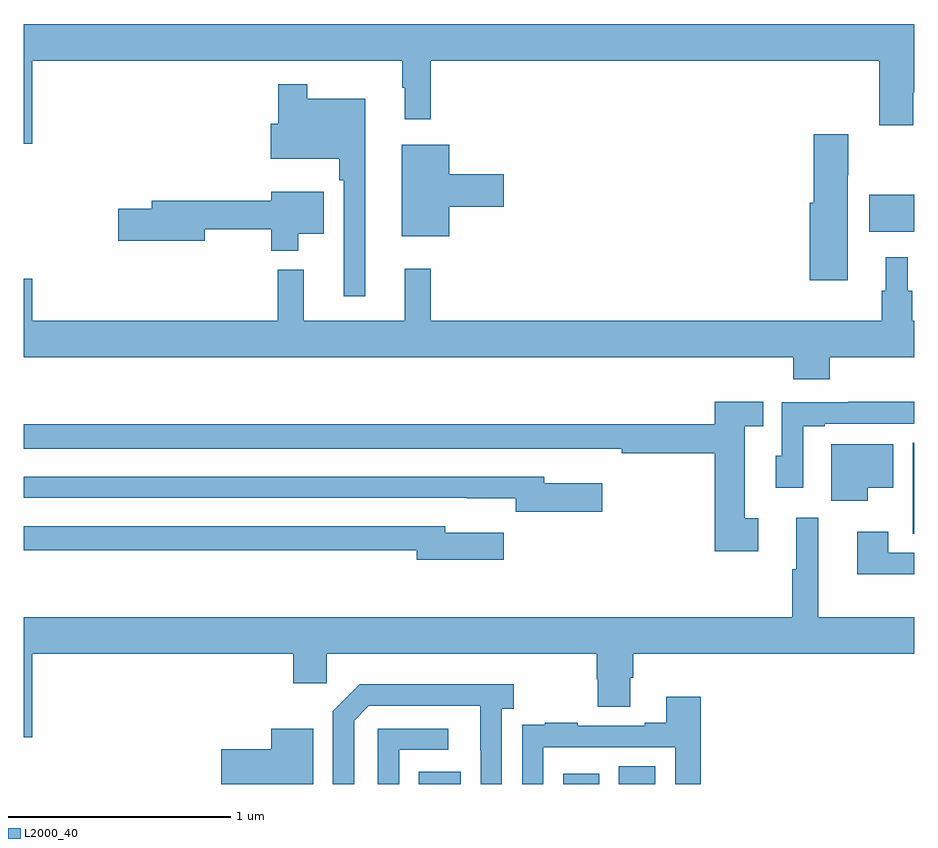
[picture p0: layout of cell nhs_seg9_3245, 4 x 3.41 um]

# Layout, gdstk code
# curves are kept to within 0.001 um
import gdstk
lib = gdstk.Library(unit=1e-6, precision=1e-09)
def R(c, l, rs):  # rectangles x0, y0, x1, y1
    for r in rs: c.add(gdstk.rectangle(r[:2], r[2:], *l))
def P(c, l, *ps):  # polygons
    for p in ps: c.add(gdstk.Polygon(p, *l))
L2000_40 = (2000, 40)

nhs_seg9_3245 = lib.new_cell('nhs_seg9_3245')
R(nhs_seg9_3245, L2000_40, [(298.775,1198.5,298.963,1198.555), (299.423,1198.5,299.584,1198.546), (299.672,1198.5,299.836,1198.58), (300.992,1199.623,301,1200.032), (300.798,1200.98,301,1201.146)])
P(nhs_seg9_3245, L2000_40, [(297.04,1201.748),(298.701,1201.748),(298.701,1201.625),(298.712,1201.625),(298.712,1201.485),(298.829,1201.485),(298.829,1201.748),(300.842,1201.748),(300.842,1201.458),(300.994,1201.458),(300.994,1201.606),(301,1201.606),(301,1201.912),(297,1201.912),(297,1201.374),(297.04,1201.374)],
  [(298.534,1201.576),(298.273,1201.576),(298.273,1201.642),(298.144,1201.642),(298.144,1201.465),(298.11,1201.465),(298.11,1201.307),(298.417,1201.307),(298.417,1201.211),(298.437,1201.211),(298.437,1200.69),(298.534,1200.69)],
  [(300.7,1201.234),(300.702,1201.234),(300.702,1201.417),(300.548,1201.417),(300.548,1201.11),(300.53,1201.11),(300.53,1200.762),(300.7,1200.762)],
  [(298.912,1201.091),(299.155,1201.091),(299.155,1201.238),(298.912,1201.238),(298.912,1201.369),(298.697,1201.369),(298.697,1200.959),(298.912,1200.959)],
  [(298.234,1200.971),(298.348,1200.971),(298.348,1201.159),(298.112,1201.159),(298.112,1201.118),(297.575,1201.118),(297.575,1201.082),(297.426,1201.082),(297.426,1200.94),(297.814,1200.94),(297.814,1200.99),(298.112,1200.99),(298.112,1200.893),(298.234,1200.893)],
  [(300.62,1200.416),(301,1200.416),(301,1200.58),(300.989,1200.58),(300.989,1200.714),(300.97,1200.714),(300.97,1200.865),(300.872,1200.865),(300.872,1200.714),(300.853,1200.714),(300.853,1200.58),(298.829,1200.58),(298.829,1200.814),(298.712,1200.814),(298.712,1200.58),(298.259,1200.58),(298.259,1200.808),(298.141,1200.808),(298.141,1200.58),(297.04,1200.58),(297.04,1200.769),(297,1200.769),(297,1200.416),(300.455,1200.416),(300.455,1200.317),(300.62,1200.317)],
  [(300.298,1199.694),(300.238,1199.694),(300.238,1200.105),(300.32,1200.105),(300.32,1200.215),(300.104,1200.215),(300.104,1200.115),(297,1200.115),(297,1200.006),(299.434,1200.006),(299.434,1200.005),(299.686,1200.005),(299.686,1199.986),(300.104,1199.986),(300.104,1199.546),(300.298,1199.546)],
  [(300.501,1200.105),(300.598,1200.105),(300.598,1200.117),(301,1200.117),(301,1200.215),(300.703,1200.215),(300.703,1200.213),(300.405,1200.213),(300.405,1199.973),(300.377,1199.973),(300.377,1199.829),(300.501,1199.829)],
  [(300.79,1199.831),(300.904,1199.831),(300.904,1200.025),(300.626,1200.025),(300.626,1199.771),(300.79,1199.771)],
  [(299.599,1199.851),(299.338,1199.851),(299.338,1199.88),(297,1199.88),(297,1199.784),(298.99,1199.784),(298.99,1199.783),(299.21,1199.783),(299.21,1199.722),(299.599,1199.722)],
  [(297.04,1199.084),(298.211,1199.084),(298.211,1198.953),(298.362,1198.953),(298.362,1199.084),(299.573,1199.084),(299.573,1198.971),(299.578,1198.971),(299.578,1198.846),(299.725,1198.846),(299.725,1198.978),(299.738,1198.978),(299.738,1199.084),(301,1199.084),(301,1199.248),(300.568,1199.248),(300.568,1199.695),(300.47,1199.695),(300.47,1199.463),(300.451,1199.463),(300.451,1199.248),(297,1199.248),(297,1198.71),(297.04,1198.71)],
  [(299.155,1199.629),(298.894,1199.629),(298.894,1199.658),(297,1199.658),(297,1199.55),(298.766,1199.55),(298.766,1199.507),(299.155,1199.507)],
  [(301,1199.538),(300.883,1199.538),(300.883,1199.632),(300.743,1199.632),(300.743,1199.442),(301,1199.442)],
  [(298.485,1198.785),(298.551,1198.851),(299.051,1198.851),(299.052,1198.5),(299.148,1198.5),(299.148,1198.838),(299.2,1198.838),(299.2,1198.948),(298.51,1198.948),(298.389,1198.827),(298.389,1198.5),(298.485,1198.5)],
  [(299.334,1198.665),(299.925,1198.665),(299.925,1198.5),(300.041,1198.5),(300.041,1198.891),(299.885,1198.891),(299.885,1198.774),(299.789,1198.774),(299.789,1198.761),(299.489,1198.761),(299.489,1198.774),(299.341,1198.774),(299.341,1198.767),(299.239,1198.767),(299.239,1198.658),(299.238,1198.658),(299.238,1198.5),(299.334,1198.5)],
  [(298.686,1198.653),(298.906,1198.653),(298.906,1198.749),(298.59,1198.749),(298.59,1198.5),(298.686,1198.5)],
  [(298.3,1198.747),(298.112,1198.747),(298.112,1198.656),(297.888,1198.656),(297.888,1198.5),(298.3,1198.5)])

lib.write_gds('nhs_seg9_3245.gds')
